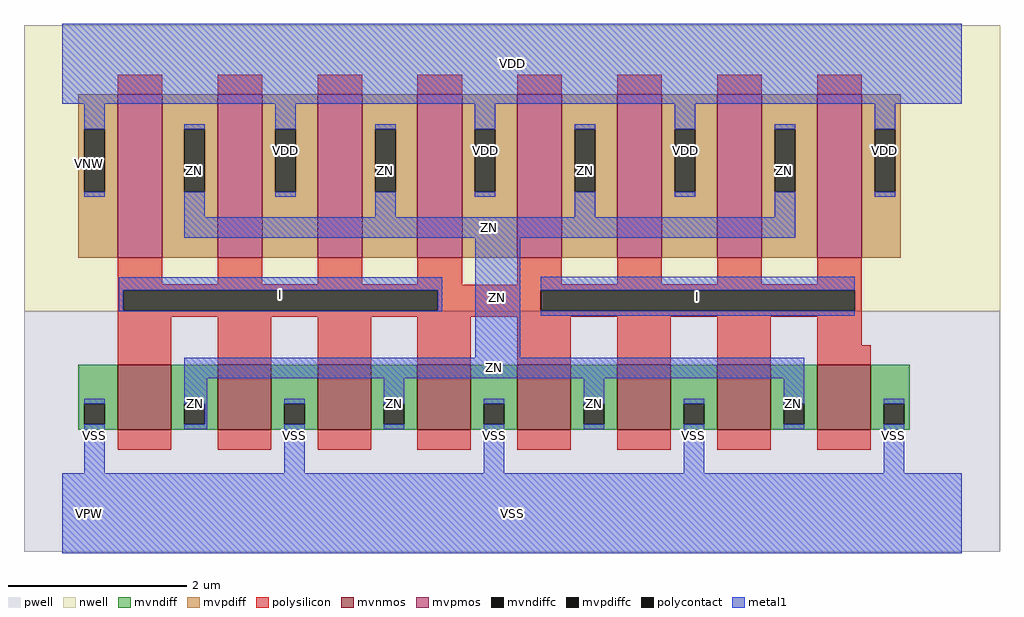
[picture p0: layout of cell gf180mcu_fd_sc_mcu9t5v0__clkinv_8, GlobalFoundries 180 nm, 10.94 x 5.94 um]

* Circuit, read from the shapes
.subckt gf180mcu_fd_sc_mcu9t5v0__clkinv_8 I ZN VDD VNW VPW VSS
XM1 ZN I VSS VPW nfet_06v0 w=0.73u l=0.6u m=8
XM2 ZN I VDD VNW pfet_06v0 w=1.83u l=0.5u m=8
.ends

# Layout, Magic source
magic
tech gf180mcuD
magscale 1 10
<< nwell >>
rect -86 453 2102 1094
<< pwell >>
rect -86 -86 2102 453
<< mvnmos >>
rect 124 187 244 333
rect 348 187 468 333
rect 572 187 692 333
rect 796 187 916 333
rect 1020 187 1140 333
rect 1244 187 1364 333
rect 1468 187 1588 333
rect 1692 187 1812 333
<< mvpmos >>
rect 124 573 224 939
rect 348 573 448 939
rect 572 573 672 939
rect 796 573 896 939
rect 1020 573 1120 939
rect 1244 573 1344 939
rect 1468 573 1568 939
rect 1692 573 1792 939
<< mvndiff >>
rect 36 246 124 333
rect 36 200 49 246
rect 95 200 124 246
rect 36 187 124 200
rect 244 246 348 333
rect 244 200 273 246
rect 319 200 348 246
rect 244 187 348 200
rect 468 246 572 333
rect 468 200 497 246
rect 543 200 572 246
rect 468 187 572 200
rect 692 246 796 333
rect 692 200 721 246
rect 767 200 796 246
rect 692 187 796 200
rect 916 246 1020 333
rect 916 200 945 246
rect 991 200 1020 246
rect 916 187 1020 200
rect 1140 246 1244 333
rect 1140 200 1169 246
rect 1215 200 1244 246
rect 1140 187 1244 200
rect 1364 246 1468 333
rect 1364 200 1393 246
rect 1439 200 1468 246
rect 1364 187 1468 200
rect 1588 246 1692 333
rect 1588 200 1617 246
rect 1663 200 1692 246
rect 1588 187 1692 200
rect 1812 246 1900 333
rect 1812 200 1841 246
rect 1887 200 1900 246
rect 1812 187 1900 200
<< mvpdiff >>
rect 36 861 124 939
rect 36 721 49 861
rect 95 721 124 861
rect 36 573 124 721
rect 224 861 348 939
rect 224 721 273 861
rect 319 721 348 861
rect 224 573 348 721
rect 448 861 572 939
rect 448 721 477 861
rect 523 721 572 861
rect 448 573 572 721
rect 672 861 796 939
rect 672 721 701 861
rect 747 721 796 861
rect 672 573 796 721
rect 896 861 1020 939
rect 896 721 925 861
rect 971 721 1020 861
rect 896 573 1020 721
rect 1120 861 1244 939
rect 1120 721 1149 861
rect 1195 721 1244 861
rect 1120 573 1244 721
rect 1344 861 1468 939
rect 1344 721 1373 861
rect 1419 721 1468 861
rect 1344 573 1468 721
rect 1568 861 1692 939
rect 1568 721 1597 861
rect 1643 721 1692 861
rect 1568 573 1692 721
rect 1792 861 1880 939
rect 1792 721 1821 861
rect 1867 721 1880 861
rect 1792 573 1880 721
<< mvndiffc >>
rect 49 200 95 246
rect 273 200 319 246
rect 497 200 543 246
rect 721 200 767 246
rect 945 200 991 246
rect 1169 200 1215 246
rect 1393 200 1439 246
rect 1617 200 1663 246
rect 1841 200 1887 246
<< mvpdiffc >>
rect 49 721 95 861
rect 273 721 319 861
rect 477 721 523 861
rect 701 721 747 861
rect 925 721 971 861
rect 1149 721 1195 861
rect 1373 721 1419 861
rect 1597 721 1643 861
rect 1821 721 1867 861
<< polysilicon >>
rect 124 939 224 983
rect 348 939 448 983
rect 572 939 672 983
rect 796 939 896 983
rect 1020 939 1120 983
rect 1244 939 1344 983
rect 1468 939 1568 983
rect 1692 939 1792 983
rect 124 513 224 573
rect 348 513 448 573
rect 572 513 672 573
rect 796 513 896 573
rect 124 512 896 513
rect 1020 513 1120 573
rect 1244 513 1344 573
rect 1468 513 1568 573
rect 1692 513 1792 573
rect 1020 512 1792 513
rect 124 500 1792 512
rect 124 454 137 500
rect 841 454 1072 500
rect 1776 454 1792 500
rect 124 441 1792 454
rect 124 333 244 441
rect 348 333 468 441
rect 572 333 692 441
rect 796 333 916 441
rect 1020 333 1140 441
rect 1244 333 1364 441
rect 1468 333 1588 441
rect 1692 377 1792 441
rect 1692 333 1812 377
rect 124 143 244 187
rect 348 143 468 187
rect 572 143 692 187
rect 796 143 916 187
rect 1020 143 1140 187
rect 1244 143 1364 187
rect 1468 143 1588 187
rect 1692 143 1812 187
<< polycontact >>
rect 137 454 841 500
rect 1072 454 1776 500
<< metal1 >>
rect 0 918 2016 1098
rect 49 861 95 918
rect 49 710 95 721
rect 273 861 319 872
rect 273 664 319 721
rect 477 861 523 918
rect 477 710 523 721
rect 701 861 747 872
rect 701 664 747 721
rect 925 861 971 918
rect 925 710 971 721
rect 1149 861 1195 872
rect 1149 664 1195 721
rect 1373 861 1419 918
rect 1373 710 1419 721
rect 1597 861 1643 872
rect 1597 664 1643 721
rect 1821 861 1867 918
rect 1821 710 1867 721
rect 273 618 1643 664
rect 126 500 852 529
rect 126 454 137 500
rect 841 454 852 500
rect 126 453 852 454
rect 926 349 1026 618
rect 1072 500 1776 530
rect 1072 443 1776 454
rect 273 303 1663 349
rect 49 246 95 257
rect 49 90 95 200
rect 273 246 325 303
rect 319 200 325 246
rect 273 189 325 200
rect 497 246 543 257
rect 497 90 543 200
rect 721 246 767 303
rect 721 189 767 200
rect 945 246 991 257
rect 945 90 991 200
rect 1169 246 1215 303
rect 1169 189 1215 200
rect 1393 246 1439 257
rect 1393 90 1439 200
rect 1617 246 1663 303
rect 1617 189 1663 200
rect 1841 246 1887 257
rect 1841 90 1887 200
rect 0 -90 2016 90
<< labels >>
flabel metal1 s 126 453 852 529 0 FreeSans 200 0 0 0 I
port 1 nsew default input
flabel metal1 s 0 918 2016 1098 0 FreeSans 200 0 0 0 VDD
port 3 nsew power bidirectional abutment
flabel metal1 s 1841 90 1887 257 0 FreeSans 200 0 0 0 VSS
port 6 nsew ground bidirectional abutment
flabel metal1 s 1597 664 1643 872 0 FreeSans 200 0 0 0 ZN
port 2 nsew default output
flabel nwell s 10 734 110 834 0 FreeSans 400 0 0 0 VNW
port 4 nsew power bidirectional
flabel pwell s 10 -50 110 50 0 FreeSans 400 0 0 0 VPW
port 5 nsew ground bidirectional
rlabel metal1 s 1072 443 1776 530 1 I
port 1 nsew default input
rlabel metal1 s 1149 664 1195 872 1 ZN
port 2 nsew default output
rlabel metal1 s 701 664 747 872 1 ZN
port 2 nsew default output
rlabel metal1 s 273 664 319 872 1 ZN
port 2 nsew default output
rlabel metal1 s 273 618 1643 664 1 ZN
port 2 nsew default output
rlabel metal1 s 926 349 1026 618 1 ZN
port 2 nsew default output
rlabel metal1 s 273 303 1663 349 1 ZN
port 2 nsew default output
rlabel metal1 s 1617 189 1663 303 1 ZN
port 2 nsew default output
rlabel metal1 s 1169 189 1215 303 1 ZN
port 2 nsew default output
rlabel metal1 s 721 189 767 303 1 ZN
port 2 nsew default output
rlabel metal1 s 273 189 325 303 1 ZN
port 2 nsew default output
rlabel metal1 s 1821 710 1867 918 1 VDD
port 3 nsew power bidirectional abutment
rlabel metal1 s 1373 710 1419 918 1 VDD
port 3 nsew power bidirectional abutment
rlabel metal1 s 925 710 971 918 1 VDD
port 3 nsew power bidirectional abutment
rlabel metal1 s 477 710 523 918 1 VDD
port 3 nsew power bidirectional abutment
rlabel metal1 s 49 710 95 918 1 VDD
port 3 nsew power bidirectional abutment
rlabel metal1 s 1393 90 1439 257 1 VSS
port 6 nsew ground bidirectional abutment
rlabel metal1 s 945 90 991 257 1 VSS
port 6 nsew ground bidirectional abutment
rlabel metal1 s 497 90 543 257 1 VSS
port 6 nsew ground bidirectional abutment
rlabel metal1 s 49 90 95 257 1 VSS
port 6 nsew ground bidirectional abutment
rlabel metal1 s 0 -90 2016 90 1 VSS
port 6 nsew ground bidirectional abutment
<< properties >>
string FIXED_BBOX 0 0 2016 1008
string GDS_END 1458222
string GDS_FILE $PDKPATH/libs.ref/gf180mcu_fd_sc_mcu9t5v0/gds/gf180mcu_fd_sc_mcu9t5v0.gds
string GDS_START 1452760
string LEFclass core
string LEFsite GF018hv5v_green_sc9
string LEFsymmetry X Y
<< end >>
